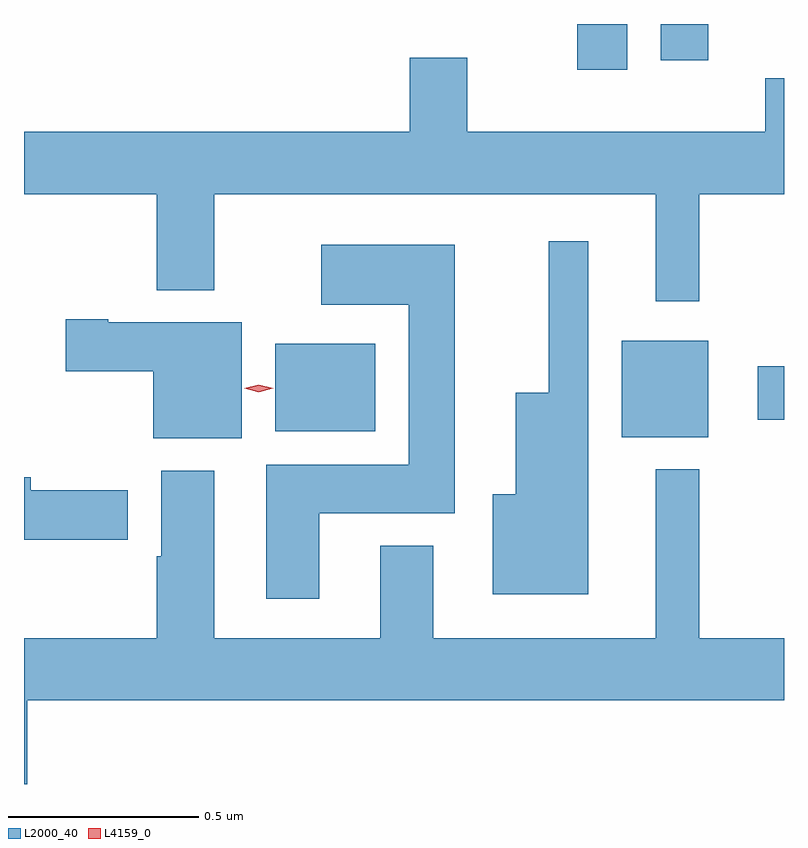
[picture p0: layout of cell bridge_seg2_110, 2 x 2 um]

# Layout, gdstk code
import gdstk
lib = gdstk.Library(unit=1e-6, precision=1e-09)
def R(c, l, rs):  # rectangles x0, y0, x1, y1
    for r in rs: c.add(gdstk.rectangle(r[:2], r[2:], *l))
def P(c, l, *ps):  # polygons
    for p in ps: c.add(gdstk.Polygon(p, *l))
L2000_40 = (2000, 40)
L4159_0 = (4159, 0)

bridge_seg2_110 = lib.new_cell('bridge_seg2_110')
R(bridge_seg2_110, L2000_40, [(593.051,632.345,593.278,632.599), (592.139,632.36,592.402,632.59), (593.409,632.39,593.478,632.532), (592.934,633.312,593.065,633.432), (593.153,633.336,593.278,633.432)])
P(bridge_seg2_110, L2000_40, [(593.255,632.984),(593.478,632.984),(593.478,633.289),(593.429,633.289),(593.429,633.148),(592.645,633.148),(592.645,633.343),(592.493,633.343),(592.493,633.148),(591.478,633.148),(591.478,632.984),(591.827,632.984),(591.827,632.732),(591.979,632.732),(591.979,632.984),(593.141,632.984),(593.141,632.703),(593.255,632.703)],
  [(592.963,632.86),(592.859,632.86),(592.859,632.461),(592.772,632.461),(592.772,632.194),(592.712,632.194),(592.712,631.931),(592.963,631.931)],
  [(592.255,632.144),(592.612,632.144),(592.612,632.851),(592.26,632.851),(592.26,632.693),(592.49,632.693),(592.49,632.272),(592.115,632.272),(592.115,631.92),(592.255,631.92)],
  [(592.051,632.647),(591.7,632.647),(591.7,632.655),(591.588,632.655),(591.588,632.518),(591.818,632.518),(591.818,632.342),(592.051,632.342)],
  [(591.487,631.652),(593.478,631.652),(593.478,631.816),(593.255,631.816),(593.255,632.26),(593.141,632.26),(593.141,631.816),(592.555,631.816),(592.555,632.059),(592.415,632.059),(592.415,631.816),(591.979,631.816),(591.979,632.257),(591.839,632.257),(591.839,632.031),(591.827,632.031),(591.827,631.816),(591.478,631.816),(591.478,631.432),(591.487,631.432)],
  [(591.751,632.205),(591.496,632.205),(591.496,632.239),(591.478,632.239),(591.478,632.075),(591.751,632.075)])
P(bridge_seg2_110, L4159_0, [(592.096,632.463),(592.057,632.473),(592.057,632.473),(592.057,632.473),(592.096,632.483),(592.134,632.474),(592.134,632.474),(592.134,632.473)])

lib.write_gds('bridge_seg2_110.gds')
